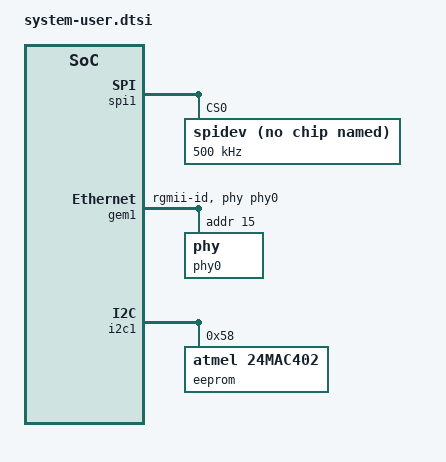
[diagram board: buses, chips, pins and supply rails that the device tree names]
/include/ "system-conf.dtsi"
#include <dt-bindings/phy/phy.h>
/ {
	chosen {
		bootargs = " earlycon console=ttyPS0,115200 clk_ignore_unused root=/dev/ram0 rw net.ifnames=0 biosdevname=0 cma=1536M";
		stdout-path = "serial0:115200n8";
	};

	reserved-memory {
		#address-cells = <2>;
		#size-cells = <2>;
		ranges;

		cma_reserved: cma@0 {
			compatible = "shared-dma-pool";
			reusable;
			reg = <0x0 0x80000000 0x0 0x60000000>; /* 1.5 GB reserved at 2GB boundary */
			alignment = <0 0x1000>;
			no-map;
		};
	};
};
&sdhci0 {
	no-1-8-v;
	disable-wp;
};
&spi0 {
	status = "disabled";
};
&spi1 {
	spidev@0 {
		compatible = "rohm,dh2228fv";
		reg = <0>;
		spi-max-frequency = <500000>;
	};
};
&gem1 {
	status = "okay";
	phy-handle = <&phy0>;
	phy-mode = "rgmii-id";
	nvmem-cells = <&mac_address>;
	nvmem-cell-names = "mac-address";
	/* pinctrl-names = "default";
	pinctrl-0 = <&pinctrl_gem1_default>; */
	phy0: phy@f {
		reg = <0xf>;
		ti,rx-internal-delay = <0x8>;
		ti,tx-internal-delay = <0xa>;
		ti,fifo-depth = <0x1>;
		ti,dp83867-rxctrl-strap-quirk;
	};
};
&i2c1 {
	eeprom: eeprom@58 {
		#address-cells = <1>;
		#size-cells = <1>;
		compatible = "atmel,24mac402";
		pagesize = <256>;
		read-only;
		reg = <0x58>;
		mac_address: mac-address@9A {
			reg = <0x9A 6>;
		};
	};
};
/ {
	axi_stream_dma_0@b0000000 {
		compatible = "axi_stream_dma";
		reg = <0x0 0xb0000000 0x0 0x10000>;
		interrupts = <0 89 4>;
		interrupt-parent = <&gic>;
	};
	usp_rf_data_converter@490000000 {
		compatible = "xlnx,usp-rf-data-converter-2.6";
		num-insts = <0x1>;
		param-list = [ ];
		reg = <0x4 0x90000000 0x0 0x40000>;
	};
};
